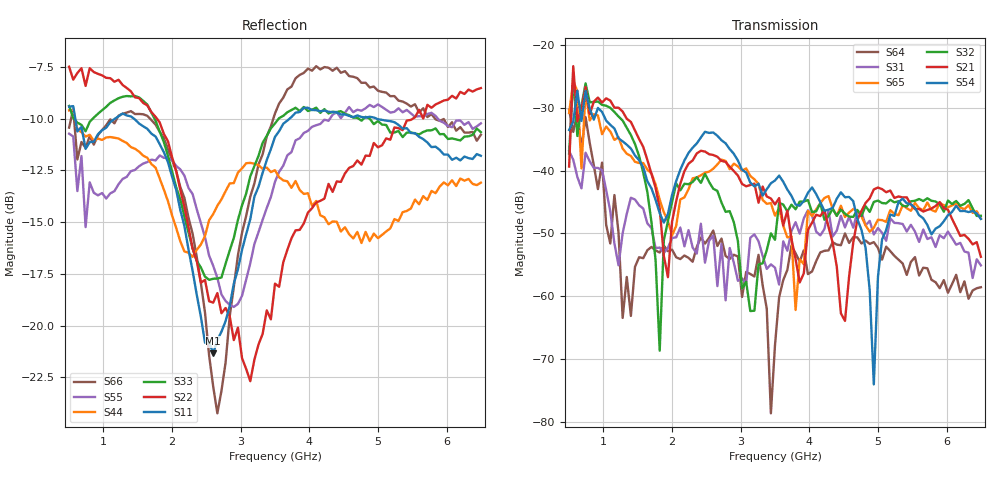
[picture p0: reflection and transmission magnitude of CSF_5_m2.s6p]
!Keysight Technologies,M9804A,MY58100912,A.14.10.03
!Date: Thursday, April 27, 2023 10:28:33
!Correction: S11(C  6-Port  )
!S12(C  6-Port  )
!S13(C  6-Port  )
!S14(C  6-Port  )
!S15(C  6-Port  )
!S16(C  6-Port  )
!S21(C  6-Port  )
!S22(C  6-Port  )
!S23(C  6-Port  )
!S24(C  6-Port  )
!S25(C  6-Port  )
!S26(C  6-Port  )
!S31(C  6-Port  )
!S32(C  6-Port  )
!S33(C  6-Port  )
!S34(C  6-Port  )
!S35(C  6-Port  )
!S36(C  6-Port  )
!S41(C  6-Port  )
!S42(C  6-Port  )
!S43(C  6-Port  )
!S44(C  6-Port  )
!S45(C  6-Port  )
!S46(C  6-Port  )
!S51(C  6-Port  )
!S52(C  6-Port  )
!S53(C  6-Port  )
!S54(C  6-Port  )
!S55(C  6-Port  )
!S56(C  6-Port  )
!S61(C  6-Port  )
!S62(C  6-Port  )
!S63(C  6-Port  )
!S64(C  6-Port  )
!S65(C  6-Port  )
!S66(C  6-Port  )
!S6P File: Measurement: :
# Hz S  RI  R 50
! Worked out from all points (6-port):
!   101 points, 500 MHz to 6.5 GHz, reference 50 ohm
!   strongest paths, dB at 500 MHz, 2 GHz, 3.5 GHz, 5 GHz, 6.5 GHz:
!     S54: -33.5, -43.9, -41.6, -56.9, -47.7
!     S21: -39.4, -48.1, -45.4, -42.7, -53.7
!     S32: -37.3, -45.0, -51.0, -44.8, -47.2
!     S65: -30.8, -50.3, -47.2, -47.8, -47.7
!     S31: -36.9, -50.7, -55.5, -49.2, -55.1
!     S64: -30.3, -52.6, -67.8, -52.3, -58.6
!   lowest |S11| = -21.3 dB at 2.6 GHz (marker M1), VSWR 1.19, Z = 42.4 + j2.17 ohm
!   |S11| at or under -10 dB: 589.8 MHz to 1.167 GHz (577.4 MHz wide, 65.7 % of centre); 1.445 GHz to 3.711 GHz (2.267 GHz wide, 87.9 % of centre); 4.982 GHz to end of sweep
